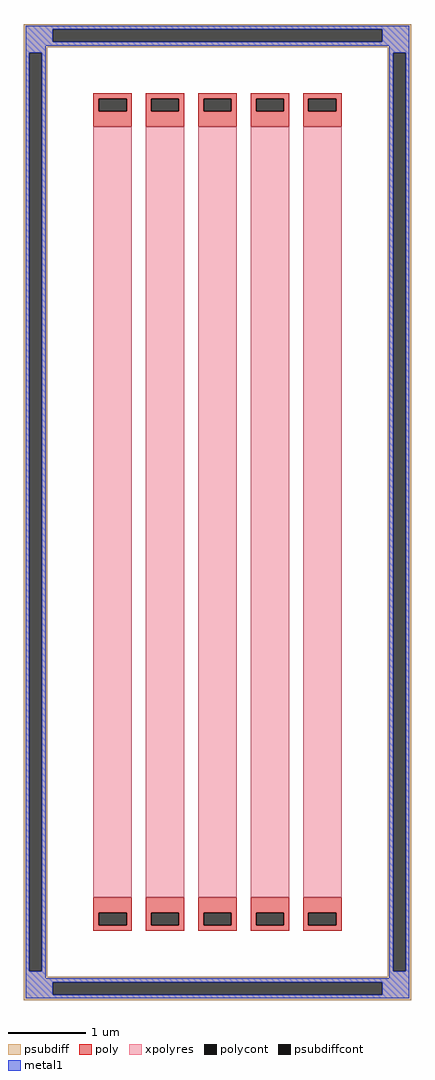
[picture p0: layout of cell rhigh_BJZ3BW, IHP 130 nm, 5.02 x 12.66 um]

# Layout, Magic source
magic
tech ihp-sg13g2
<< psubdiff >>
rect -115 626 387 633
rect -115 610 -78 626
rect 350 610 387 626
rect -115 603 387 610
rect -115 596 -85 603
rect -115 -596 -108 596
rect -92 -596 -85 596
rect 357 596 387 603
rect -115 -603 -85 -596
rect 357 -596 364 596
rect 380 -596 387 596
rect 357 -603 387 -596
rect -115 -610 387 -603
rect -115 -626 -78 -610
rect 350 -626 387 -610
rect -115 -633 387 -626
<< psubdiffcont >>
rect -78 610 350 626
rect -108 -596 -92 596
rect 364 -596 380 596
rect -78 -626 350 -610
<< poly >>
rect -25 536 25 543
rect -25 520 -18 536
rect 18 520 25 536
rect -25 500 25 520
rect -25 -520 25 -500
rect -25 -536 -18 -520
rect 18 -536 25 -520
rect -25 -543 25 -536
rect 43 536 93 543
rect 43 520 50 536
rect 86 520 93 536
rect 43 500 93 520
rect 43 -520 93 -500
rect 43 -536 50 -520
rect 86 -536 93 -520
rect 43 -543 93 -536
rect 111 536 161 543
rect 111 520 118 536
rect 154 520 161 536
rect 111 500 161 520
rect 111 -520 161 -500
rect 111 -536 118 -520
rect 154 -536 161 -520
rect 111 -543 161 -536
rect 179 536 229 543
rect 179 520 186 536
rect 222 520 229 536
rect 179 500 229 520
rect 179 -520 229 -500
rect 179 -536 186 -520
rect 222 -536 229 -520
rect 179 -543 229 -536
rect 247 536 297 543
rect 247 520 254 536
rect 290 520 297 536
rect 247 500 297 520
rect 247 -520 297 -500
rect 247 -536 254 -520
rect 290 -536 297 -520
rect 247 -543 297 -536
<< polycont >>
rect -18 520 18 536
rect -18 -536 18 -520
rect 50 520 86 536
rect 50 -536 86 -520
rect 118 520 154 536
rect 118 -536 154 -520
rect 186 520 222 536
rect 186 -536 222 -520
rect 254 520 290 536
rect 254 -536 290 -520
<< xpolyres >>
rect -25 -500 25 500
rect 43 -500 93 500
rect 111 -500 161 500
rect 179 -500 229 500
rect 247 -500 297 500
<< metal1 >>
rect -113 626 385 631
rect -113 610 -78 626
rect 350 610 385 626
rect -113 605 385 610
rect -113 596 -87 605
rect -113 -596 -108 596
rect -92 -596 -87 596
rect 359 596 385 605
rect -113 -605 -87 -596
rect 359 -596 364 596
rect 380 -596 385 596
rect 359 -605 385 -596
rect -113 -610 385 -605
rect -113 -626 -78 -610
rect 350 -626 385 -610
rect -113 -631 385 -626
<< properties >>
string gencell rhigh
string library sg13g2_devstdin
string parameters w 0.5 l 10 nx 5 dx 0.18 ny 1 dy 0.18 wmin 0.50 lmin 0.50 class resistor endcov 0 glc 1 grc 1 gtc 1 gbc 1
<< end >>
